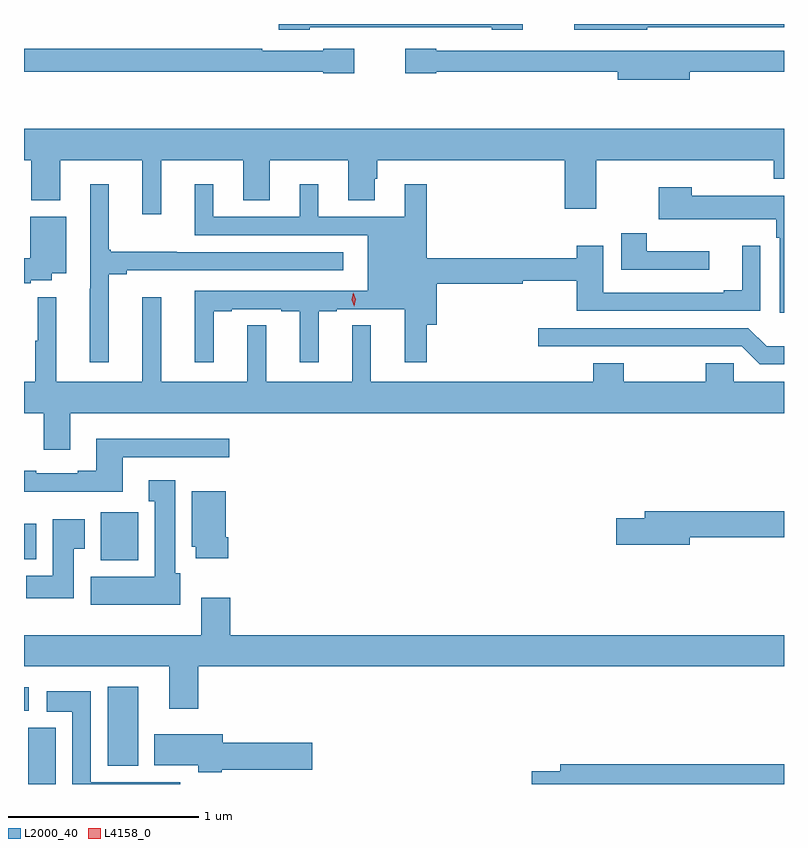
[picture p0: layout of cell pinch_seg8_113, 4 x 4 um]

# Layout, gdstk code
import gdstk
lib = gdstk.Library(unit=1e-6, precision=1e-09)
def R(c, l, rs):  # rectangles x0, y0, x1, y1
    for r in rs: c.add(gdstk.rectangle(r[:2], r[2:], *l))
def P(c, l, *ps):  # polygons
    for p in ps: c.add(gdstk.Polygon(p, *l))
L2000_40 = (2000, 40)
L4158_0 = (4158, 0)

pinch_seg8_113 = lib.new_cell('pinch_seg8_113')
R(pinch_seg8_113, L2000_40, [(1056.014,1082.58,1056.157,1082.875), (1056.431,1082.675,1056.592,1083.091), (1055.991,1082.966,1056.016,1083.088), (1056.395,1083.758,1056.591,1084.009), (1055.991,1083.764,1056.055,1083.951)])
P(pinch_seg8_113, L2000_40, [(1057.494,1086.564),(1058.454,1086.564),(1058.454,1086.551),(1058.617,1086.551),(1058.617,1086.58),(1057.332,1086.58),(1057.332,1086.551),(1057.494,1086.551)],
  [(1059.27,1086.564),(1059.991,1086.564),(1059.991,1086.58),(1058.886,1086.58),(1058.886,1086.551),(1059.27,1086.551)],
  [(1059.496,1086.33),(1059.991,1086.33),(1059.991,1086.438),(1058.16,1086.438),(1058.16,1086.451),(1057.998,1086.451),(1057.998,1086.322),(1058.16,1086.322),(1058.16,1086.33),(1059.116,1086.33),(1059.116,1086.287),(1059.496,1086.287)],
  [(1057.729,1086.451),(1057.566,1086.451),(1057.566,1086.438),(1057.244,1086.438),(1057.244,1086.451),(1055.991,1086.451),(1055.991,1086.33),(1057.566,1086.33),(1057.566,1086.322),(1057.729,1086.322)],
  [(1056.713,1085.864),(1057.145,1085.864),(1057.145,1085.652),(1057.285,1085.652),(1057.285,1085.864),(1057.697,1085.864),(1057.697,1085.652),(1057.837,1085.652),(1057.837,1085.766),(1057.85,1085.766),(1057.85,1085.864),(1058.837,1085.864),(1058.837,1085.607),(1059.002,1085.607),(1059.002,1085.864),(1059.938,1085.864),(1059.938,1085.765),(1059.991,1085.765),(1059.991,1086.028),(1055.991,1086.028),(1055.991,1085.864),(1056.029,1085.864),(1056.029,1085.652),(1056.181,1085.652),(1056.181,1085.864),(1056.614,1085.864),(1056.614,1085.58),(1056.713,1085.58)],
  [(1056.437,1085.263),(1056.532,1085.263),(1056.532,1085.283),(1057.672,1085.283),(1057.672,1085.379),(1056.794,1085.379),(1056.794,1085.381),(1056.448,1085.381),(1056.448,1085.392),(1056.437,1085.392),(1056.437,1085.737),(1056.339,1085.737),(1056.339,1085.186),(1056.338,1085.186),(1056.338,1084.8),(1056.437,1084.8)],
  [(1056.989,1085.067),(1057.084,1085.067),(1057.084,1085.079),(1057.346,1085.079),(1057.346,1085.067),(1057.442,1085.067),(1057.442,1084.8),(1057.541,1084.8),(1057.541,1085.067),(1057.636,1085.067),(1057.636,1085.079),(1057.994,1085.079),(1057.994,1084.8),(1058.111,1084.8),(1058.111,1084.997),(1058.164,1084.997),(1058.164,1085.212),(1058.616,1085.212),(1058.616,1085.23),(1058.9,1085.23),(1058.9,1085.07),(1059.867,1085.07),(1059.867,1085.413),(1059.77,1085.413),(1059.77,1085.179),(1059.674,1085.179),(1059.674,1085.166),(1059.04,1085.166),(1059.04,1085.413),(1058.9,1085.413),(1058.9,1085.348),(1058.111,1085.348),(1058.111,1085.737),(1057.994,1085.737),(1057.994,1085.565),(1057.54,1085.565),(1057.54,1085.737),(1057.442,1085.737),(1057.442,1085.565),(1056.988,1085.565),(1056.988,1085.737),(1056.89,1085.737),(1056.89,1085.469),(1057.799,1085.469),(1057.799,1085.175),(1056.89,1085.175),(1056.89,1084.8),(1056.989,1084.8)],
  [(1059.991,1085.677),(1059.506,1085.677),(1059.506,1085.722),(1059.331,1085.722),(1059.331,1085.552),(1059.949,1085.552),(1059.949,1085.456),(1059.969,1085.456),(1059.969,1085.06),(1059.991,1085.06)],
  [(1056.027,1085.232),(1056.136,1085.232),(1056.136,1085.267),(1056.214,1085.267),(1056.214,1085.566),(1056.023,1085.566),(1056.023,1085.348),(1055.991,1085.348),(1055.991,1085.215),(1056.027,1085.215)],
  [(1059.598,1085.383),(1059.269,1085.383),(1059.269,1085.479),(1059.134,1085.479),(1059.134,1085.286),(1059.598,1085.286)],
  [(1059.991,1084.696),(1059.726,1084.696),(1059.726,1084.794),(1059.58,1084.794),(1059.58,1084.696),(1059.147,1084.696),(1059.147,1084.795),(1058.987,1084.795),(1058.987,1084.696),(1057.817,1084.696),(1057.817,1084.994),(1057.718,1084.994),(1057.718,1084.696),(1057.265,1084.696),(1057.265,1084.994),(1057.166,1084.994),(1057.166,1084.696),(1056.713,1084.696),(1056.713,1085.143),(1056.614,1085.143),(1056.614,1084.696),(1056.161,1084.696),(1056.161,1085.143),(1056.063,1085.143),(1056.063,1084.913),(1056.051,1084.913),(1056.051,1084.696),(1055.991,1084.696),(1055.991,1084.532),(1056.095,1084.532),(1056.095,1084.338),(1056.235,1084.338),(1056.235,1084.532),(1059.991,1084.532)],
  [(1059.991,1084.885),(1059.899,1084.885),(1059.804,1084.98),(1058.697,1084.98),(1058.697,1084.884),(1059.235,1084.884),(1059.235,1084.883),(1059.491,1084.883),(1059.491,1084.884),(1059.768,1084.884),(1059.864,1084.788),(1059.991,1084.788)],
  [(1056.511,1084.299),(1057.072,1084.299),(1057.072,1084.396),(1056.371,1084.396),(1056.371,1084.228),(1056.275,1084.228),(1056.275,1084.215),(1056.055,1084.215),(1056.055,1084.228),(1055.991,1084.228),(1055.991,1084.118),(1056.511,1084.118)],
  [(1056.814,1083.69),(1056.787,1083.69),(1056.787,1084.18),(1056.647,1084.18),(1056.647,1084.067),(1056.68,1084.067),(1056.68,1083.67),(1056.341,1083.67),(1056.341,1083.524),(1056.814,1083.524)],
  [(1057.067,1083.88),(1057.054,1083.88),(1057.054,1084.12),(1056.875,1084.12),(1056.875,1083.828),(1056.896,1083.828),(1056.896,1083.768),(1057.067,1083.768)],
  [(1059.496,1083.88),(1059.991,1083.88),(1059.991,1084.016),(1059.257,1084.016),(1059.257,1083.98),(1059.108,1083.98),(1059.108,1083.838),(1059.496,1083.838)],
  [(1056.253,1083.817),(1056.31,1083.817),(1056.31,1083.973),(1056.143,1083.973),(1056.143,1083.676),(1056.004,1083.676),(1056.004,1083.558),(1056.253,1083.558)],
  [(1056.908,1083.2),(1059.991,1083.2),(1059.991,1083.364),(1057.076,1083.364),(1057.076,1083.559),(1056.923,1083.559),(1056.923,1083.364),(1055.991,1083.364),(1055.991,1083.2),(1056.755,1083.2),(1056.755,1082.976),(1056.908,1082.976)],
  [(1056.814,1082.59),(1056.588,1082.59),(1056.588,1082.589),(1056.342,1082.589),(1056.342,1083.067),(1056.111,1083.067),(1056.111,1082.96),(1056.246,1082.96),(1056.246,1082.58),(1056.814,1082.58)],
  [(1057.032,1082.654),(1057.507,1082.654),(1057.507,1082.796),(1057.036,1082.796),(1057.036,1082.842),(1056.677,1082.842),(1056.677,1082.678),(1056.907,1082.678),(1056.907,1082.641),(1057.032,1082.641)],
  [(1059.991,1082.684),(1058.813,1082.684),(1058.813,1082.648),(1058.664,1082.648),(1058.664,1082.58),(1059.991,1082.58)])
P(pinch_seg8_113, L4158_0, [(1057.728,1085.095),(1057.728,1085.095),(1057.716,1085.13),(1057.725,1085.166),(1057.725,1085.166),(1057.725,1085.166),(1057.736,1085.131),(1057.728,1085.095)])

lib.write_gds('pinch_seg8_113.gds')
